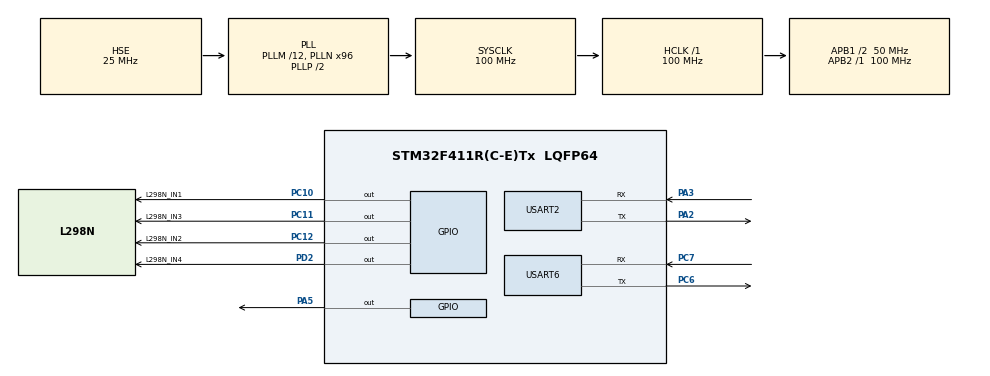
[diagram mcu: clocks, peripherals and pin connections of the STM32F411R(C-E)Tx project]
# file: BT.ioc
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Mcu.Family=STM32F4
Mcu.Name=STM32F411R(C-E)Tx
Mcu.Package=LQFP64
NVIC.PriorityGroup=NVIC_PRIORITYGROUP_4
NVIC.USART6_IRQn=true\:0\:0\:false\:false\:true\:true\:true\:true
PA13.Mode=Serial_Wire
PA13.Signal=SYS_JTMS-SWDIO
PA14.Mode=Serial_Wire
PA14.Signal=SYS_JTCK-SWCLK
PA2.Mode=Asynchronous
PA2.Signal=USART2_TX
PA3.Mode=Asynchronous
PA3.Signal=USART2_RX
PA5.Signal=GPIO_Output
PA8.GPIO_Label=L298N_ENA
PA8.Signal=S_TIM1_CH1
PC10.GPIO_Label=L298N_IN1
PC10.Signal=GPIO_Output
PC11.GPIO_Label=L298N_IN3
PC11.Signal=GPIO_Output
PC12.GPIO_Label=L298N_IN2
PC12.Signal=GPIO_Output
PC6.Mode=Asynchronous
PC6.Signal=USART6_TX
PC7.Mode=Asynchronous
PC7.Signal=USART6_RX
PD2.GPIO_Label=L298N_IN4
PD2.Signal=GPIO_Output
PH0\ -\ OSC_IN.Mode=HSE-External-Oscillator
PH0\ -\ OSC_IN.Signal=RCC_OSC_IN
PH1\ -\ OSC_OUT.Mode=HSE-External-Oscillator
PH1\ -\ OSC_OUT.Signal=RCC_OSC_OUT
ProjectManager.HeapSize=0x200
ProjectManager.StackSize=0x400
ProjectManager.TargetToolchain=STM32CubeIDE
RCC.48MHZClocksFreq_Value=50000000
RCC.AHBFreq_Value=100000000
RCC.APB1CLKDivider=RCC_HCLK_DIV2
RCC.APB1Freq_Value=50000000
RCC.APB1TimFreq_Value=100000000
RCC.APB2Freq_Value=100000000
RCC.APB2TimFreq_Value=100000000
RCC.CortexFreq_Value=100000000
RCC.HCLKFreq_Value=100000000
RCC.HSE_VALUE=25000000
RCC.HSI_VALUE=16000000
RCC.LSE_VALUE=32768
RCC.PLLM=12
RCC.PLLN=96
RCC.PLLSourceVirtual=RCC_PLLSOURCE_HSE
RCC.SYSCLKFreq_VALUE=100000000
RCC.SYSCLKSource=RCC_SYSCLKSOURCE_PLLCLK
RCC.VCOOutputFreq_Value=200000000
SH.S_TIM1_CH1.0=TIM1_CH1
USART2.VirtualMode=VM_ASYNC
USART6.VirtualMode=VM_ASYNC
VP_TIM1_VS_ClockSourceINT.Mode=Internal
board=custom

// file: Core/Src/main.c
/* USER CODE BEGIN Header */
/**
  ******************************************************************************
  * @file           : main.c
  * @brief          : Main program body
  ******************************************************************************
  * @attention
  *
  * Copyright (c) 2024 STMicroelectronics.
  * All rights reserved.
  *
  * This software is licensed under terms that can be found in the LICENSE file
  * in the root directory of this software component.
  * If no LICENSE file comes with this software, it is provided AS-IS.
  *
  ******************************************************************************
  */
/* USER CODE END Header */
#include "main.h"

/* USER CODE BEGIN Includes */
#include <string.h>
#include <stdio.h>
/* USER CODE END Includes */

/* USER CODE BEGIN PD */
char receivedata;
/* USER CODE END PD */

TIM_HandleTypeDef htim1;

UART_HandleTypeDef huart2;
UART_HandleTypeDef huart6;

void SystemClock_Config(void);
static void MX_GPIO_Init(void);
static void MX_USART2_UART_Init(void);
static void MX_TIM1_Init(void);
static void MX_USART6_UART_Init(void);

/* USER CODE BEGIN 0 */

void Blink_LED(void) {
    for (int i = 0; i < 2; i++) {
        HAL_GPIO_TogglePin(GPIOA, GPIO_PIN_5);
        HAL_Delay(200);  // 200ms
        HAL_GPIO_TogglePin(GPIOA, GPIO_PIN_5);
        HAL_Delay(200);  // 200ms
    }
}

int __io_putchar(int ch) {
    HAL_UART_Transmit(&huart2, (uint8_t*)&ch, 1, HAL_MAX_DELAY);
    return ch;
}

void HAL_UART_RxCpltCallback(UART_HandleTypeDef *huart) {
    if (huart->Instance == USART6) {
        printf("Received: %c\n", receivedata);
        HAL_UART_Receive_IT(&huart6, (uint8_t*)&receivedata, 1);
    }
}
/* USER CODE END 0 */

int main(void)
{

  /* MCU Configuration--------------------------------------------------------*/

  /* Reset of all peripherals, Initializes the Flash interface and the Systick. */
  HAL_Init();

  /* Configure the system clock */
  SystemClock_Config();

  /* Initialize all configured peripherals */
  MX_GPIO_Init();
  MX_USART2_UART_Init();
  MX_TIM1_Init();
  MX_USART6_UART_Init();
  /* USER CODE BEGIN 2 */

  HAL_UART_Receive_IT(&huart6, (uint8_t*)&receivedata, 1);

  /* USER CODE END 2 */

  /* Infinite loop */
  /* USER CODE BEGIN WHILE */
  while (1)
  {
      printf("Received: %c\n", receivedata);
      HAL_Delay(100);
    /* USER CODE END WHILE */

  }
}

void SystemClock_Config(void)
{
  RCC_OscInitTypeDef RCC_OscInitStruct = {0};
  RCC_ClkInitTypeDef RCC_ClkInitStruct = {0};

  /** Configure the main internal regulator output voltage
  */
  __HAL_RCC_PWR_CLK_ENABLE();
  __HAL_PWR_VOLTAGESCALING_CONFIG(PWR_REGULATOR_VOLTAGE_SCALE1);

  /** Initializes the RCC Oscillators according to the specified parameters
  * in the RCC_OscInitTypeDef structure.
  */
  RCC_OscInitStruct.OscillatorType = RCC_OSCILLATORTYPE_HSE;
  RCC_OscInitStruct.HSEState = RCC_HSE_ON;
  RCC_OscInitStruct.PLL.PLLState = RCC_PLL_ON;
  RCC_OscInitStruct.PLL.PLLSource = RCC_PLLSOURCE_HSE;
  RCC_OscInitStruct.PLL.PLLM = 12;
  RCC_OscInitStruct.PLL.PLLN = 96;
  RCC_OscInitStruct.PLL.PLLP = RCC_PLLP_DIV2;
  RCC_OscInitStruct.PLL.PLLQ = 4;
  if (HAL_RCC_OscConfig(&RCC_OscInitStruct) != HAL_OK)
  {
    Error_Handler();
  }

  /** Initializes the CPU, AHB and APB buses clocks
  */
  RCC_ClkInitStruct.ClockType = RCC_CLOCKTYPE_HCLK|RCC_CLOCKTYPE_SYSCLK
                              |RCC_CLOCKTYPE_PCLK1|RCC_CLOCKTYPE_PCLK2;
  RCC_ClkInitStruct.SYSCLKSource = RCC_SYSCLKSOURCE_PLLCLK;
  RCC_ClkInitStruct.AHBCLKDivider = RCC_SYSCLK_DIV1;
  RCC_ClkInitStruct.APB1CLKDivider = RCC_HCLK_DIV2;
  RCC_ClkInitStruct.APB2CLKDivider = RCC_HCLK_DIV1;

  if (HAL_RCC_ClockConfig(&RCC_ClkInitStruct, FLASH_LATENCY_3) != HAL_OK)
  {
    Error_Handler();
  }
}

static void MX_TIM1_Init(void)
{

  TIM_ClockConfigTypeDef sClockSourceConfig = {0};
  TIM_MasterConfigTypeDef sMasterConfig = {0};

  htim1.Instance = TIM1;
  htim1.Init.Prescaler = 0;
  htim1.Init.CounterMode = TIM_COUNTERMODE_UP;
  htim1.Init.Period = 65535;
  htim1.Init.ClockDivision = TIM_CLOCKDIVISION_DIV1;
  htim1.Init.RepetitionCounter = 0;
  htim1.Init.AutoReloadPreload = TIM_AUTORELOAD_PRELOAD_DISABLE;
  if (HAL_TIM_Base_Init(&htim1) != HAL_OK)
  {
    Error_Handler();
  }
  sClockSourceConfig.ClockSource = TIM_CLOCKSOURCE_INTERNAL;
  if (HAL_TIM_ConfigClockSource(&htim1, &sClockSourceConfig) != HAL_OK)
  {
    Error_Handler();
  }
  sMasterConfig.MasterOutputTrigger = TIM_TRGO_RESET;
  sMasterConfig.MasterSlaveMode = TIM_MASTERSLAVEMODE_DISABLE;
  if (HAL_TIMEx_MasterConfigSynchronization(&htim1, &sMasterConfig) != HAL_OK)
  {
    Error_Handler();
  }

}

static void MX_USART2_UART_Init(void)
{

  huart2.Instance = USART2;
  huart2.Init.BaudRate = 115200;
  huart2.Init.WordLength = UART_WORDLENGTH_8B;
  huart2.Init.StopBits = UART_STOPBITS_1;
  huart2.Init.Parity = UART_PARITY_NONE;
  huart2.Init.Mode = UART_MODE_TX_RX;
  huart2.Init.HwFlowCtl = UART_HWCONTROL_NONE;
  huart2.Init.OverSampling = UART_OVERSAMPLING_16;
  if (HAL_UART_Init(&huart2) != HAL_OK)
  {
    Error_Handler();
  }

}

static void MX_USART6_UART_Init(void)
{

  huart6.Instance = USART6;
  huart6.Init.BaudRate = 115200;
  huart6.Init.WordLength = UART_WORDLENGTH_8B;
  huart6.Init.StopBits = UART_STOPBITS_1;
  huart6.Init.Parity = UART_PARITY_NONE;
  huart6.Init.Mode = UART_MODE_TX_RX;
  huart6.Init.HwFlowCtl = UART_HWCONTROL_NONE;
  huart6.Init.OverSampling = UART_OVERSAMPLING_16;
  if (HAL_UART_Init(&huart6) != HAL_OK)
  {
    Error_Handler();
  }

}

static void MX_GPIO_Init(void)
{
  GPIO_InitTypeDef GPIO_InitStruct = {0};

  /* GPIO Ports Clock Enable */
  __HAL_RCC_GPIOH_CLK_ENABLE();
  __HAL_RCC_GPIOA_CLK_ENABLE();
  __HAL_RCC_GPIOC_CLK_ENABLE();
  __HAL_RCC_GPIOD_CLK_ENABLE();

  /*Configure GPIO pin Output Level */
  HAL_GPIO_WritePin(GPIOA, GPIO_PIN_5, GPIO_PIN_RESET);

  /*Configure GPIO pin Output Level */
  HAL_GPIO_WritePin(GPIOC, L298N_IN1_Pin|L298N_IN3_Pin|L298N_IN2_Pin, GPIO_PIN_RESET);

  /*Configure GPIO pin Output Level */
  HAL_GPIO_WritePin(L298N_IN4_GPIO_Port, L298N_IN4_Pin, GPIO_PIN_RESET);

  /*Configure GPIO pin : PA5 */
  GPIO_InitStruct.Pin = GPIO_PIN_5;
  GPIO_InitStruct.Mode = GPIO_MODE_OUTPUT_PP;
  GPIO_InitStruct.Pull = GPIO_NOPULL;
  GPIO_InitStruct.Speed = GPIO_SPEED_FREQ_LOW;
  HAL_GPIO_Init(GPIOA, &GPIO_InitStruct);

  /*Configure GPIO pins : L298N_IN1_Pin L298N_IN3_Pin L298N_IN2_Pin */
  GPIO_InitStruct.Pin = L298N_IN1_Pin|L298N_IN3_Pin|L298N_IN2_Pin;
  GPIO_InitStruct.Mode = GPIO_MODE_OUTPUT_PP;
  GPIO_InitStruct.Pull = GPIO_NOPULL;
  GPIO_InitStruct.Speed = GPIO_SPEED_FREQ_LOW;
  HAL_GPIO_Init(GPIOC, &GPIO_InitStruct);

  /*Configure GPIO pin : L298N_IN4_Pin */
  GPIO_InitStruct.Pin = L298N_IN4_Pin;
  GPIO_InitStruct.Mode = GPIO_MODE_OUTPUT_PP;
  GPIO_InitStruct.Pull = GPIO_NOPULL;
  GPIO_InitStruct.Speed = GPIO_SPEED_FREQ_LOW;
  HAL_GPIO_Init(L298N_IN4_GPIO_Port, &GPIO_InitStruct);

}

void Error_Handler(void)
{
  __disable_irq();
  while (1)
  {
  }
}
